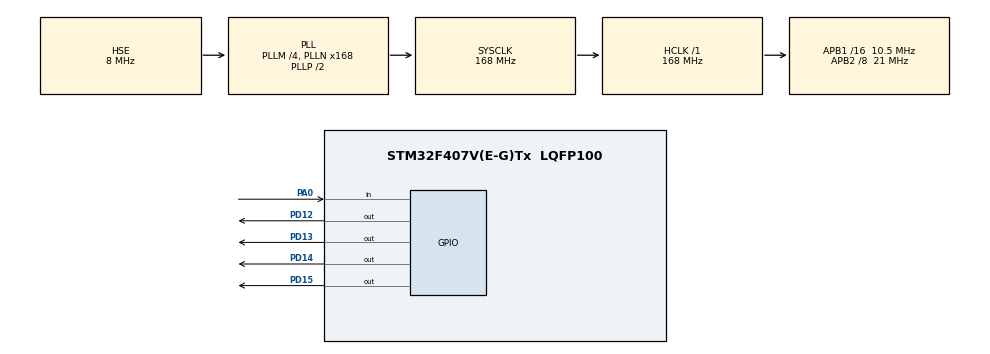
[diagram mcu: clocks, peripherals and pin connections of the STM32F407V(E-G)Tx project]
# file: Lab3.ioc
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Mcu.Family=STM32F4
Mcu.Name=STM32F407V(E-G)Tx
Mcu.Package=LQFP100
NVIC.PriorityGroup=NVIC_PRIORITYGROUP_4
NVIC.TIM6_DAC_IRQn=true\:0\:0\:false\:false\:true\:true\:true\:true
PA0-WKUP.Signal=GPIO_Input
PD12.Signal=GPIO_Output
PD13.Signal=GPIO_Output
PD14.Signal=GPIO_Output
PD15.Signal=GPIO_Output
PH0-OSC_IN.Mode=HSE-External-Oscillator
PH0-OSC_IN.Signal=RCC_OSC_IN
PH1-OSC_OUT.Mode=HSE-External-Oscillator
PH1-OSC_OUT.Signal=RCC_OSC_OUT
ProjectManager.HeapSize=0x200
ProjectManager.StackSize=0x400
ProjectManager.TargetToolchain=MDK-ARM V5.32
RCC.48MHZClocksFreq_Value=84000000
RCC.AHBFreq_Value=168000000
RCC.APB1CLKDivider=RCC_HCLK_DIV16
RCC.APB1Freq_Value=10500000
RCC.APB1TimFreq_Value=21000000
RCC.APB2CLKDivider=RCC_HCLK_DIV8
RCC.APB2Freq_Value=21000000
RCC.APB2TimFreq_Value=42000000
RCC.CortexFreq_Value=168000000
RCC.HCLKFreq_Value=168000000
RCC.HSE_VALUE=8000000
RCC.HSI_VALUE=16000000
RCC.LSE_VALUE=32768
RCC.PLLM=4
RCC.PLLN=168
RCC.PLLSourceVirtual=RCC_PLLSOURCE_HSE
RCC.PWR_Regulator_Voltage_Scale=PWR_REGULATOR_VOLTAGE_SCALE1
RCC.SYSCLKFreq_VALUE=168000000
RCC.SYSCLKSource=RCC_SYSCLKSOURCE_PLLCLK
RCC.VCOOutputFreq_Value=336000000
TIM6.AutoReloadPreload=TIM_AUTORELOAD_PRELOAD_ENABLE
TIM6.Period=499
TIM6.Prescaler=20999
TIM6.TIM_MasterOutputTrigger=TIM_TRGO_UPDATE
VP_TIM6_VS_ClockSourceINT.Mode=Enable_Timer
board=custom

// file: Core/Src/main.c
/* USER CODE BEGIN Header */
/**
  ******************************************************************************
  * @file           : main.c
  * @brief          : Main program body
  ******************************************************************************
  * @attention
  *
  * Copyright (c) 2023 STMicroelectronics.
  * All rights reserved.
  *
  * This software is licensed under terms that can be found in the LICENSE file
  * in the root directory of this software component.
  * If no LICENSE file comes with this software, it is provided AS-IS.
  *
  ******************************************************************************
  */
/* USER CODE END Header */
#include "main.h"

/* USER CODE BEGIN Includes */
#include "stm32f4xx_hal.h"
#include "Lab3_Test.h"
/* USER CODE END Includes */

TIM_HandleTypeDef htim6;

/* USER CODE BEGIN PV */
uint32_t Test;
uint8_t vrnt;
uint8_t tim6_count = 0;
uint8_t *decision;
/* USER CODE END PV */

void SystemClock_Config(void);
static void MX_GPIO_Init(void);
static void MX_TIM6_Init(void);

int main(void)
{
  /* USER CODE BEGIN 1 */

	//vrnt = Lab3_Test_ini("Dotsenko");

  /* USER CODE END 1 */

  /* MCU Configuration--------------------------------------------------------*/

  /* Reset of all peripherals, Initializes the Flash interface and the Systick. */
  HAL_Init();

  /* Configure the system clock */
  SystemClock_Config();

  /* Initialize all configured peripherals */
  MX_GPIO_Init();
  MX_TIM6_Init();
  /* USER CODE BEGIN 2 */
	//HAL_TIM_Base_Start(&htim6); //запускаем таймер 6
	//HAL_TIM_Base_Start_IT(&htim6); //включаем тактирование на таймере 6
  /* USER CODE END 2 */

  /* Infinite loop */
  while (1)
  {

    /* USER CODE BEGIN 3 */
		//Test = while_Test(decision);
		if(HAL_GPIO_ReadPin (GPIOA, GPIO_PIN_0)==GPIO_PIN_SET)
		{
			HAL_Delay(150);
			if(HAL_GPIO_ReadPin (GPIOA, GPIO_PIN_0)==GPIO_PIN_SET)
				{
					switch(tim6_count)
					{
						case 0:
						case 3:
						case 5:
							HAL_GPIO_WritePin(GPIOD, GPIO_PIN_12|GPIO_PIN_13|GPIO_PIN_14|GPIO_PIN_15, GPIO_PIN_RESET);
							HAL_GPIO_WritePin(GPIOD, GPIO_PIN_12, GPIO_PIN_SET);
							break;
						case 1:
						case 6:
							HAL_GPIO_WritePin(GPIOD, GPIO_PIN_12|GPIO_PIN_13|GPIO_PIN_14|GPIO_PIN_15, GPIO_PIN_RESET);
							HAL_GPIO_WritePin(GPIOD, GPIO_PIN_13, GPIO_PIN_SET);
							break;
						case 2:
							HAL_GPIO_WritePin(GPIOD, GPIO_PIN_12|GPIO_PIN_13|GPIO_PIN_14|GPIO_PIN_15, GPIO_PIN_RESET);
							HAL_GPIO_WritePin(GPIOD, GPIO_PIN_14, GPIO_PIN_SET);
							break;
						case 4:
						case 7:
							HAL_GPIO_WritePin(GPIOD, GPIO_PIN_12|GPIO_PIN_13|GPIO_PIN_14|GPIO_PIN_15, GPIO_PIN_RESET);
							HAL_GPIO_WritePin(GPIOD, GPIO_PIN_15, GPIO_PIN_SET);
							break;
					}
					if(tim6_count<7) tim6_count++;
					else tim6_count=0;
			  }
		}

	}
  /* USER CODE END 3 */
}

void SystemClock_Config(void)
{
  RCC_OscInitTypeDef RCC_OscInitStruct = {0};
  RCC_ClkInitTypeDef RCC_ClkInitStruct = {0};

  /** Configure the main internal regulator output voltage
  */
  __HAL_RCC_PWR_CLK_ENABLE();
  __HAL_PWR_VOLTAGESCALING_CONFIG(PWR_REGULATOR_VOLTAGE_SCALE1);

  /** Initializes the RCC Oscillators according to the specified parameters
  * in the RCC_OscInitTypeDef structure.
  */
  RCC_OscInitStruct.OscillatorType = RCC_OSCILLATORTYPE_HSE;
  RCC_OscInitStruct.HSEState = RCC_HSE_ON;
  RCC_OscInitStruct.PLL.PLLState = RCC_PLL_ON;
  RCC_OscInitStruct.PLL.PLLSource = RCC_PLLSOURCE_HSE;
  RCC_OscInitStruct.PLL.PLLM = 4;
  RCC_OscInitStruct.PLL.PLLN = 168;
  RCC_OscInitStruct.PLL.PLLP = RCC_PLLP_DIV2;
  RCC_OscInitStruct.PLL.PLLQ = 4;
  if (HAL_RCC_OscConfig(&RCC_OscInitStruct) != HAL_OK)
  {
    Error_Handler();
  }

  /** Initializes the CPU, AHB and APB buses clocks
  */
  RCC_ClkInitStruct.ClockType = RCC_CLOCKTYPE_HCLK|RCC_CLOCKTYPE_SYSCLK
                              |RCC_CLOCKTYPE_PCLK1|RCC_CLOCKTYPE_PCLK2;
  RCC_ClkInitStruct.SYSCLKSource = RCC_SYSCLKSOURCE_PLLCLK;
  RCC_ClkInitStruct.AHBCLKDivider = RCC_SYSCLK_DIV1;
  RCC_ClkInitStruct.APB1CLKDivider = RCC_HCLK_DIV16;
  RCC_ClkInitStruct.APB2CLKDivider = RCC_HCLK_DIV8;

  if (HAL_RCC_ClockConfig(&RCC_ClkInitStruct, FLASH_LATENCY_5) != HAL_OK)
  {
    Error_Handler();
  }
}

static void MX_TIM6_Init(void)
{

  TIM_MasterConfigTypeDef sMasterConfig = {0};

  htim6.Instance = TIM6;
  htim6.Init.Prescaler = 20999;
  htim6.Init.CounterMode = TIM_COUNTERMODE_UP;
  htim6.Init.Period = 499;
  htim6.Init.AutoReloadPreload = TIM_AUTORELOAD_PRELOAD_ENABLE;
  if (HAL_TIM_Base_Init(&htim6) != HAL_OK)
  {
    Error_Handler();
  }
  sMasterConfig.MasterOutputTrigger = TIM_TRGO_UPDATE;
  sMasterConfig.MasterSlaveMode = TIM_MASTERSLAVEMODE_DISABLE;
  if (HAL_TIMEx_MasterConfigSynchronization(&htim6, &sMasterConfig) != HAL_OK)
  {
    Error_Handler();
  }

}

static void MX_GPIO_Init(void)
{
  GPIO_InitTypeDef GPIO_InitStruct = {0};

  /* GPIO Ports Clock Enable */
  __HAL_RCC_GPIOH_CLK_ENABLE();
  __HAL_RCC_GPIOA_CLK_ENABLE();
  __HAL_RCC_GPIOD_CLK_ENABLE();

  /*Configure GPIO pin Output Level */
  HAL_GPIO_WritePin(GPIOD, GPIO_PIN_12|GPIO_PIN_13|GPIO_PIN_14|GPIO_PIN_15, GPIO_PIN_RESET);

  /*Configure GPIO pin : PA0 */
  GPIO_InitStruct.Pin = GPIO_PIN_0;
  GPIO_InitStruct.Mode = GPIO_MODE_INPUT;
  GPIO_InitStruct.Pull = GPIO_NOPULL;
  HAL_GPIO_Init(GPIOA, &GPIO_InitStruct);

  /*Configure GPIO pins : PD12 PD13 PD14 PD15 */
  GPIO_InitStruct.Pin = GPIO_PIN_12|GPIO_PIN_13|GPIO_PIN_14|GPIO_PIN_15;
  GPIO_InitStruct.Mode = GPIO_MODE_OUTPUT_PP;
  GPIO_InitStruct.Pull = GPIO_NOPULL;
  GPIO_InitStruct.Speed = GPIO_SPEED_FREQ_LOW;
  HAL_GPIO_Init(GPIOD, &GPIO_InitStruct);

}

void Error_Handler(void)
{
  __disable_irq();
  while (1)
  {
  }
}
